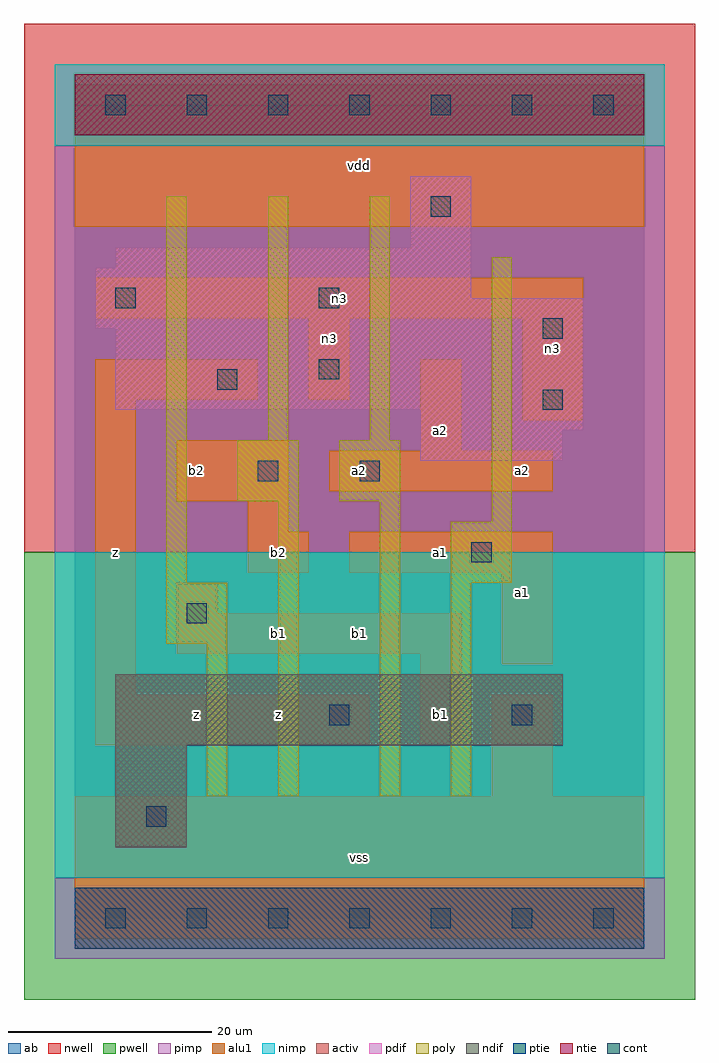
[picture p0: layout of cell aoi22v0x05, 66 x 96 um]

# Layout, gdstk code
import gdstk
lib = gdstk.Library(unit=1e-6, precision=1e-09)
def R(c, l, rs):  # rectangles x0, y0, x1, y1
    for r in rs: c.add(gdstk.rectangle(r[:2], r[2:], *l))
def A(c, l, x, y, w, h, nx, ny, dx, dy):  # array of equal rectangles
    R(c, l, [(x+i*dx, y+j*dy, x+i*dx+w, y+j*dy+h) for i in range(nx) for j in range(ny)])
ndif = (3, 0)
pdif = (4, 0)
ntie = (5, 0)
ptie = (6, 0)
cont = (25, 0)
pwell = (41, 0)
nwell = (42, 0)
activ = (43, 0)
pimp = (44, 0)
nimp = (45, 0)
poly = (46, 0)
alu1 = (49, 0)
ab = (63, 0)

aoi22v0x05 = lib.new_cell('aoi22v0x05')
R(aoi22v0x05, ndif, [(4,7,11,17), (4,17,48,24)])
R(aoi22v0x05, pdif, [(34,45,48,48), (34,48,50,50), (4,50,50,58), (2,58,50,61), (2,61,39,64), (4,64,39,66), (33,66,39,73)])
R(aoi22v0x05, ntie, [(0,77,56,83)])
R(aoi22v0x05, ptie, [(0,-3,56,3)])
A(aoi22v0x05, cont, 3, -1, 2, 2, 7, 2, 8, 80)
R(aoi22v0x05, cont, [(7,9,9,11), (25,19,27,21), (43,19,45,21), (11,29,13,31), (39,35,41,37), (18,43,20,45), (28,43,30,45), (46,50,48,52), (14,52,16,54), (24,53,26,55), (46,57,48,59), (4,60,6,62), (24,60,26,62), (35,69,37,71)])
R(aoi22v0x05, pwell, [(-5,-8,61,36)])
R(aoi22v0x05, nwell, [(-5,36,61,88)])
R(aoi22v0x05, activ, [(0,-3,56,3), (4,7,11,17), (4,17,48,24), (34,45,48,48), (34,48,50,50), (4,50,50,58), (2,58,50,61), (2,61,39,64), (4,64,39,66), (33,66,39,73), (0,77,56,83)])
R(aoi22v0x05, pimp, [(-2,-4,58,4), (-2,36,58,76)])
R(aoi22v0x05, nimp, [(-2,4,58,36), (-2,76,58,84)])
R(aoi22v0x05, poly, [(13,12,15,27), (20,12,22,41), (30,12,32,41), (37,12,39,33), (9,27,15,33), (9,33,11,71), (37,33,43,39), (41,39,43,65), (16,41,22,47), (26,41,32,47), (19,47,21,71), (29,47,31,71)])
R(aoi22v0x05, alu1, [(0,-2,56,12), (41,12,47,22), (2,17,29,22), (34,17,38,26), (2,22,6,51), (42,25,47,34), (10,26,38,30), (10,30,14,33), (17,34,23,38), (27,34,47,38), (17,38,21,41), (10,41,21,47), (25,42,47,46), (34,46,38,55), (44,49,50,59), (2,51,18,55), (23,51,27,59), (2,59,50,63), (0,68,56,82)])
R(aoi22v0x05, ab, [(0,0,56,80)])
aoi22v0x05.add(gdstk.Label('n3', (25,57), layer=49, texttype=0))
aoi22v0x05.add(gdstk.Label('n3', (47,56), layer=49, texttype=0))
aoi22v0x05.add(gdstk.Label('n3', (26,61), layer=49, texttype=0))
aoi22v0x05.add(gdstk.Label('z', (4,36), layer=49, texttype=0))
aoi22v0x05.add(gdstk.Label('z', (20,20), layer=49, texttype=0))
aoi22v0x05.add(gdstk.Label('z', (12,20), layer=49, texttype=0))
aoi22v0x05.add(gdstk.Label('b1', (20,28), layer=49, texttype=0))
aoi22v0x05.add(gdstk.Label('b2', (20,36), layer=49, texttype=0))
aoi22v0x05.add(gdstk.Label('b2', (12,44), layer=49, texttype=0))
aoi22v0x05.add(gdstk.Label('vss', (28,6), layer=49, texttype=0))
aoi22v0x05.add(gdstk.Label('b1', (36,20), layer=49, texttype=0))
aoi22v0x05.add(gdstk.Label('b1', (28,28), layer=49, texttype=0))
aoi22v0x05.add(gdstk.Label('a1', (36,36), layer=49, texttype=0))
aoi22v0x05.add(gdstk.Label('a2', (28,44), layer=49, texttype=0))
aoi22v0x05.add(gdstk.Label('a2', (36,48), layer=49, texttype=0))
aoi22v0x05.add(gdstk.Label('vdd', (28,74), layer=49, texttype=0))
aoi22v0x05.add(gdstk.Label('a1', (44,32), layer=49, texttype=0))
aoi22v0x05.add(gdstk.Label('a2', (44,44), layer=49, texttype=0))

lib.write_gds('aoi22v0x05.gds')
